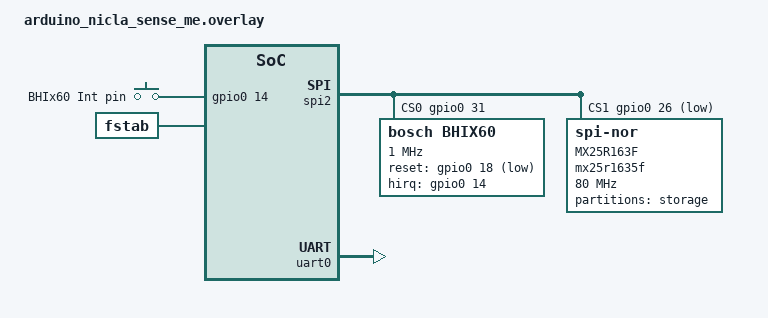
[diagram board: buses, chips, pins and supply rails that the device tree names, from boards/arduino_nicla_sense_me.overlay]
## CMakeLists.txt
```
#
# Copyright (c) 2023 Bosch Sensortec GmbH
#
# SPDX-License-Identifier: Apache-2.0
#

cmake_minimum_required(VERSION 3.20.0)

#add AB3 specific configurations
if("${BOARD}" STREQUAL "bosch_app3")
	set(CONF_FILE "prj.conf")
	list(APPEND CONF_FILE "boards/bosch_app3x_overlay.conf")
endif()

find_package(Zephyr HINTS $ENV{ZEPHYR_BASE})
project(bhix60)

#The required sample to be built has to be selected by passing
#e.g. -DBUILD_PDR in the build command line 
#Or, if using VSCode, by entering -DBUILD_PDR:STRING="1" in 
#the field "Extra CMake Argument" in the Build Configuration dialog.
if(BUILD_SWIM)
	SET(app_sources src/main_swim.c)
	message(STATUS "Building SWIM Sample")
elseif(BUILD_PDR)
	SET(app_sources src/main_pdr.c)
	message(STATUS "Building PDR Sample")
elseif(BUILD_KLIO)
	SET(app_sources src/main_klio.c)
	message(STATUS "Building KLIO Sample")
elseif(BUILD_BSEC)
	SET(app_sources src/main_bsec.c)
	message(STATUS "Building BSEC Sample")
elseif(BUILD_AUX)
	SET(app_sources src/main_aux.c)
	message(STATUS "Building AUX Sample")
elseif(BUILD_WAKE)
	SET(app_sources src/main_wake.c)
	message(STATUS "Building WAKE Sample")
elseif(BUILD_BHI3)
	SET(app_sources src/main_bhi3.c)
	message(STATUS "Building BHI3 Sample")
else()
	SET(app_sources src/main.c)
	message(STATUS "Building Default Sample")
endif()

target_sources(app PRIVATE ${app_sources})
```

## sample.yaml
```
sample:
  name: BHIX60 Sensor sample
tests:
  sample.sensor.bhix60:
    harness: sensor
    tags: samples sensor
    depends_on: arduino_spi
```

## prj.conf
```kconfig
#BHIx60 requires a large stack for FIFO processing
#it also requires a heap. Following settings are CRITICAL
#otherwise there will be build and runtime errors
CONFIG_MAIN_STACK_SIZE=8192
CONFIG_HEAP_MEM_POOL_SIZE=2048
#Enable the below option to get debug messages
#from the BHIx60 onboard MPU
CONFIG_BHIX60_STATUS_DEBUG=n

#Change below setting to choose upload of firmware to 
#RAM, Flash, or boot without upload if firmware is pre-flashed
#Only enable ONE of the below three options.
#Note that the firmware being uploaded also has to be
#appropriate for the choice (RAM or Flash versions)
CONFIG_BHIX60_UPLOAD_FW_TO_RAM=y
CONFIG_BHIX60_UPLOAD_FW_TO_FLASH=n
CONFIG_BHIX60_FLASH_AUTO_BOOT=n
#Specify how the BHIx60 FIFO will be processed
#1. The BHIx60 INT pin will be polled in an application fetch loop
#2. Set BHIx60 INT pin as hw interrupt, handle in the global thread.
#3. Same as 2, but handle in a special FIFO thread.
#Activate only ONE of the below three options
CONFIG_BHIX60_FIFO_POLL=y
CONFIG_BHIX60_FIFO_INT_GLOBAL_THREAD=n
CONFIG_BHIX60_FIFO_INT_FIFO_THREAD=n

#SPI is required by BHIx60
CONFIG_SPI=y
#enable the Sensor API for BHIx60 (and any others activated in the DTS)
CONFIG_SENSOR=y

#In order to build the samples for the advanced sensors like SWIM, PDR, etc.
#the corresponding option below needs to be activated. They can be set to n
#for other samples
CONFIG_BOSCH_BHY2_SWIM=y
CONFIG_BOSCH_BHY2_PDR=y
CONFIG_BOSCH_BHY2_KLIO=y
CONFIG_BOSCH_BHY2_BSEC=y
CONFIG_BOSCH_BHY2_BHI3=y

#Settings for console output
CONFIG_STDOUT_CONSOLE=y
CONFIG_PRINTK=y
CONFIG_LOG=y
CONFIG_LOG_BACKEND_UART=y
CONFIG_LOG_MODE_IMMEDIATE=y
CONFIG_UART_LINE_CTRL=y

#The following Power Management Module configurations are
#required for the WAKE sample. They can be set to n for
#other samples
CONFIG_PM=y
CONFIG_PM_DEVICE=y
CONFIG_PM_DEVICE_RUNTIME=y
```

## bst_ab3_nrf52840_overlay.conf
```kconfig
#AB3 Specific settings
#Select voltage of Shuttle board VDD 1.8 or 2.8. 
#BHI260 shuttle board 1.8 V only
CONFIG_BST_AB3_NRF52840_SELECT_VDD_2_8=n

#Disable console output
CONFIG_STDOUT_CONSOLE=n
CONFIG_LOG_MODE_IMMEDIATE=y
CONFIG_UART_CONSOLE=n
CONFIG_LOG_BACKEND_UART=n
#Enable RTT Console
CONFIG_RTT_CONSOLE=y
CONFIG_USE_SEGGER_RTT=y
CONFIG_LOG_BACKEND_RTT=y
```

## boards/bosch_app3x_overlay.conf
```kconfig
#APP30 and APP31 Specific settings
#Select voltage of Shuttle board VDD 1.8 or 2.8. 
#BHI260 shuttle board 1.8 V only
CONFIG_BOSCH_SHUTTLE_VDD_MV=1800

#Disable console output
CONFIG_STDOUT_CONSOLE=n
CONFIG_LOG_MODE_IMMEDIATE=y
CONFIG_UART_CONSOLE=n
CONFIG_LOG_BACKEND_UART=n
#Enable RTT Console
CONFIG_RTT_CONSOLE=y
CONFIG_USE_SEGGER_RTT=y
CONFIG_LOG_BACKEND_RTT=y
```

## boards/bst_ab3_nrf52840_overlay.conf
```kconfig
#AB3 Specific settings
#Select voltage of Shuttle board VDD 1.8 or 2.8. 
#BHI260 shuttle board 1.8 V only
CONFIG_BST_SHUTTLE_SELECT_VDD_2_8=n

#Disable console output
CONFIG_STDOUT_CONSOLE=n
CONFIG_LOG_MODE_IMMEDIATE=y
CONFIG_UART_CONSOLE=n
CONFIG_LOG_BACKEND_UART=n
#Enable RTT Console
CONFIG_RTT_CONSOLE=y
CONFIG_USE_SEGGER_RTT=y
CONFIG_LOG_BACKEND_RTT=y
```

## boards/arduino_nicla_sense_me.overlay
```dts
/*
 * Copyright (c) 2020 Bosch Sensortec GmbH.
 *
 * SPDX-License-Identifier: Apache-2.0
 */
 
/* 
 * changes required to support BHIx60 driver in NICLA Sense ME. 
 * TODO: incorporate directly in Nicla Sense ME DTS, since the BHIx60 chip is the
 * core feature of NICLA Sense ME
 */
 
/{
	/*Define "Wake-Up" GPIO pin for Power Management*/
	wup {
		compatible = "gpio-keys";
		wup0: wup_0 {
			gpios = <&gpio0 14 GPIO_ACTIVE_HIGH>;	/*Interrupt-OUT pin of BHI260*/
			label = "BHIx60 Int pin";
						status = "okay";
		};
	};
	
	/*littlefs partition on external spi flash mx25r1635f 16MB
	NOTE: the NICLA Reference manual incorrectly refers to this as MX231835 2MB
	The correct chip is in the NICLA schematics, as well as in the NICLA DTS*/
	fstab {
		compatible = "zephyr,fstab";
		lfs1: lfs1 {
			compatible = "zephyr,fstab,littlefs";
			mount-point = "/lfs1";
			partition = <&logging_partition>;
			automount;
			
			read-size = <16>;
			prog-size = <16>;
			cache-size = <64>;
			lookahead-size = <32>;
			block-cycles = <512>; 
			
		};
	};

};
	
/*override pinctrl of current Nicla DTS to provide pull up to UART-Rx
This is an error in the NICLA DTS that needs to be corrected*/
&pinctrl {
	uart0_default: uart0_default {
		group1 {
			psels = <NRF_PSEL(UART_TX, 0, 20)>;
		};

		group2 {
			psels = <NRF_PSEL(UART_RX, 0, 9)>;
			bias-pull-up;
		};

	};
};

//Override the storage_partition in the original Nicla DTS so that the
//"storage" label can be applied to the SPI flash sector below. This is
//required for proper functioning of littlefs
&flash0 {
	partitions {
		storage_partition: partition@7a000 {
		label = "storage2"; //override "storage" in originl DTS
		reg = <0x0007a000 0x00006000>;
	};
	};
};

//I2C0 Pins are connected to LED+Battery Charger in NICLA schematic
	//no correspondence with AB3 pins
	// &i2c0 {
	// 	status = "okay";
	// 	led_rgb: fl3194@53 {
	// 		compatible = "issi,is31fl3194";
	// 		reg = <0x53>;
	// 		label = "FL3194";
	// 	};
	// 	bat_level: bq25120@6a {
	// 		compatible = "ti,bq25120";
	// 		status = "okay";
	// 		reg = <0x6a>;
	// 		label = "BQ25120";
	// 		cd-gpios = <&gpio0 25 GPIO_ACTIVE_LOW>;
	// 		/*settings for LP4030 3.7 V, 450mAH battery*/
	// 		bat_reg_mv = <3700>;	//regulation voltage of battery in mv (3.6-4.65V)
	// 		ilim_ma = <200>;		//Input current limit of device in mA. (50-400 mA)
	// 		bat_uvlo_mv = <2750>;	//Battery under-voltage lockout in mV (2.2-3 V, Disable UVLO:0)
	// 		icharge_ma = <200>; 	//Charging current in mA (5-300mA, Disable Charger:0)
	// 		ipreterm_ua = <20000>;	//pre-charging current/terminating current in uA 
	// 								//(500uA to 37000uA (37mA), Disable Termination:0)
	// 								//This is charging current at start and end of charging, usually 10% of peak
	// 	};

	// };

//SPI2 module is used as shuttle_spi i.e. as main SPI connection to BHI260 and NOR Flash
//because that is how it is defined in arduino_nicla_sense_me.dts
//Note however that corresponding pins in the pinctrl dtsi are referred to as SPI0 in NICLA datasheet
//Note that the current Nicla DTS has a wrong value and name for the logging partition
//that is corrected in this overlay. This needs to be corrected in the DTS eventually.
&spi2 {
		compatible = "nordic,nrf-spi";
		status = "okay";
		pinctrl-0 = <&spi2_default>;
		pinctrl-1 = <&spi2_sleep>;
		pinctrl-names = "default", "sleep";
		//0: CS of BHI260 1:CS of Flash
		cs-gpios = <&gpio0 31 GPIO_ACTIVE_HIGH>,<&gpio0 26 GPIO_ACTIVE_LOW>;
		
 		bhix60_dev: bhix60@0 {
			compatible = "bosch,bhix60";
			reg = <0>;
			spi-max-frequency = <1000000>;//<20000000>;
			label = "bhix60";
			status = "okay";
			reset-gpios = <&gpio0 18 GPIO_ACTIVE_LOW>;	//reset pin of BHI260
			hirq-gpios = <&gpio0 14 GPIO_ACTIVE_HIGH>;	//Interrupt-OUT pin of BHI260 
		};

		/delete-node/ mx25r1635f@0;
		
		mx25r1635f: mx25r1635f@1 {
			compatible = "jedec,spi-nor";
			reg = <1>;
			spi-max-frequency = <80000000>;
			label = "MX25R163F";
			jedec-id = [c2 28 15];
			size = <DT_SIZE_M(2*8)>;	//mx25r1635f size is 16Mbits (2 MBytes). Flash Size parameter is given in Mbits 
			has-dpd;
			t-enter-dpd = <10000>;
			t-exit-dpd = <35000>;
			status = "okay";
			partitions {
				compatible = "fixed-partitions";
				#address-cells = <1>;
				#size-cells = <1>;
	
				logging_partition: partition@0 {
					label = "storage";
					reg = <0x00000000 DT_SIZE_M(2)>;//2 Mbytes (sector size is given in MBytes, not Mbits as above)
				};
			};
		};
		
	};
	
	uart_dev: &uart0 {
		status = "okay";
	};
```

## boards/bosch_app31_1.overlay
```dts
/*
 * Copyright (c) 2023 Bosch Sensortec GmbH.
 *
 * SPDX-License-Identifier: Apache-2.0
 */
 
/* 
 * Modifications required to the default Bosch Application Board 3.0 DTS
 * to support BHIx60 Driver for BHI260AP shuttle board
 */
 
/{
	/*Define "Wake-Up" GPIO pin for Power Management*/
	wup {
		compatible = "gpio-keys";
		wup0: wup_0 {
			gpios = <&gpio1 1 GPIO_ACTIVE_HIGH>;	/*Interrupt-OUT pin of BHI260*/
			label = "BHIx60 Int pin";
						status = "okay";
		};
	};
};


&spi2 {
	cs-gpios   = <&gpio0 24 GPIO_ACTIVE_HIGH>;
	/delete-node/ bmxx_spi@0;
	bhix60_dev: bhix60@0 {
		compatible = "bosch,bhix60";
		reg = <0>;
		spi-max-frequency = <1000000>;//<20000000>;
		label = "bhix60";
		status = "okay";
		reset-gpios = <&gpio1 2 GPIO_ACTIVE_LOW>;	//reset pin of BHI260
		hirq-gpios = <&gpio1 1 GPIO_ACTIVE_HIGH>;	//Interrupt-OUT pin of BHI260 
	};		
};
```

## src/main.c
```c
/*
 * Copyright (c) 2022 Bosch Sensortec GmbH
 *
 * SPDX-License-Identifier: Apache-2.0
 * This BHix60 driver sample demonstrates the use of virtual sensors that use
 * the onboard hardware sensors, i.e. the ones that do not require additional 
 * slave sensors.
 * Specifically: Accelerometer, Gyroscope,Tilt Detector, Game Rotation Vector
 * It demonstrates accessing data using the Sensor API as well as the extended API
 * (for Game Rotation Vector) as well as the setting of scales and 
 * data-ready triggers, threshold triggers and event triggers 
 */

#include <zephyr/kernel.h>
#include <zephyr/device.h>
#include <zephyr/drivers/sensor.h>
#include <stdio.h>

/*Define application specific firmware to be uploaded*/
#include <bhix60.h>
# if defined(CONFIG_BHIX60_UPLOAD_FW_TO_FLASH) || !defined(CONFIG_BHIX60_UPLOAD_FW_TO_RAM)
#    error 	"CONFIG_BHIX60_UPLOAD_FW_TO_RAM Should be set for this firmware"
# endif 
#include <firmware/bhi260ap/BHI260AP.fw.h> 
int bhix60_get_firmware(const struct device *dev, unsigned char **fw,unsigned int *fw_sz)
{
     (void)dev;
     *fw = (unsigned char *)bhy2_firmware_image;
     *fw_sz = sizeof(bhy2_firmware_image);
     return 0;
}
void tilt_trigger_handler(const struct device *dev,
					 const struct sensor_trigger *trigger);
void rotation_trigger_handler(const struct device *dev,
					 const struct sensor_trigger *trigger);
void gyro_trigger_handler(const struct device *dev,
					 const struct sensor_trigger *trigger);
void accel_trigger_handler(const struct device *dev,
					 const struct sensor_trigger *trigger);
void sensor_print(char *name, struct sensor_value *v, char *unit);

void main(void)
{
	const struct device *dev = DEVICE_DT_GET(DT_NODELABEL(bhix60_dev));
	struct sensor_value acc[3], gyr[3];
	struct sensor_value full_scale, sv_cfg; 
	struct sensor_trigger tilt_trig ={
		.chan =  SENSOR_CHAN_TILT,
		.type=SENSOR_TRIG_BHIX60_EVENT,
	};
	struct sensor_trigger rotation_trig ={
		.chan =SENSOR_CHAN_GAME_ROTATION_QTR,
		.type=	SENSOR_TRIG_DATA_READY,
	};
	struct sensor_trigger gyro_trig ={
		.chan = SENSOR_CHAN_GYRO_XYZ,
		.type =	SENSOR_TRIG_THRESHOLD,
	};
	struct sensor_trigger accel_trig ={
		.chan = SENSOR_CHAN_ACCEL_XYZ,
		.type =	SENSOR_TRIG_THRESHOLD,
	};
	/*Set threshold for gyro triggers to 4 rad/s*/
	struct sensor_value gyro_thresh = {4,0};
	/*Set threshold for accel triggers to 10 m/s^2*/
	struct sensor_value accel_thresh = {10,0};

	if (!device_is_ready(dev)) {
		printf("Device %s is not ready\n", dev->name);
		return;
	}

	printf("Device %p name is %s\n", dev, dev->name);
	/*Configure the required virtual sensors. Configuration has to be done
	prior to any other call, as this registers the virtual sensor for use*/
	sv_cfg.val1 = 100;       /* Sampling rate in hz */
	sv_cfg.val2 = 0;		 /* Latency */
	sensor_attr_set(dev, SENSOR_CHAN_ACCEL_XYZ,
			SENSOR_ATTR_CONFIGURATION,
			&sv_cfg);
	sensor_attr_set(dev, SENSOR_CHAN_GYRO_XYZ,
			SENSOR_ATTR_CONFIGURATION,
			&sv_cfg);
	sensor_attr_set(dev,  SENSOR_CHAN_TILT,
			SENSOR_ATTR_CONFIGURATION,
			&sv_cfg);
	sensor_attr_set(dev, SENSOR_CHAN_GAME_ROTATION_QTR,
			SENSOR_ATTR_CONFIGURATION,
			&sv_cfg);
	/* Setting Accl scale in m/s^2 */
	full_scale.val1 = 20;            /* 20 m/s^2 = 2G */
	full_scale.val2 = 0;

	sensor_attr_set(dev, SENSOR_CHAN_ACCEL_XYZ, SENSOR_ATTR_FULL_SCALE,
			&full_scale);

	/* Setting Gyro scale in radians/s*/
	full_scale.val1 = 7;          /* 7 rad/s = 401 degrees/s */
	full_scale.val2 = 0;

	sensor_attr_set(dev, SENSOR_CHAN_GYRO_XYZ, SENSOR_ATTR_FULL_SCALE,
			&full_scale);
	/*set callback handler for tilt detector*/
	sensor_trigger_set(dev,&tilt_trig,tilt_trigger_handler);
	/*set callback handler for game rotation vector*/
	sensor_trigger_set(dev,&rotation_trig,rotation_trigger_handler);
	/*set callback handler for gyro*/
	sensor_trigger_set(dev,&gyro_trig,gyro_trigger_handler);
	sensor_attr_set(dev, SENSOR_CHAN_GYRO_XYZ,
			SENSOR_ATTR_UPPER_THRESH,
			&gyro_thresh);
	/*set callback handler for accel*/
	sensor_trigger_set(dev,&accel_trig,accel_trigger_handler);
	sensor_attr_set(dev, SENSOR_CHAN_ACCEL_XYZ,
			SENSOR_ATTR_UPPER_THRESH,
			&accel_thresh);
	int count =0;
	while (1) {
		/* 10ms period, 100Hz Sampling frequency */
		k_sleep(K_MSEC(10));

		/*If FIFO poll mode is active, fetch needs to be called in 
		a loop to unload events from the BHI60 FIFO loop.*/
#ifdef CONFIG_BHIX60_FIFO_POLL
		sensor_sample_fetch(dev);
#endif
		/*data can be accessed after a fetch, if available. Otherwise a data received
		trigger can be set up, as done for rotation data*/
		sensor_channel_get(dev, SENSOR_CHAN_ACCEL_XYZ, acc);
		sensor_channel_get(dev, SENSOR_CHAN_GYRO_XYZ, gyr);

		/* although sampling is set at 100 hz, as in a real-world application,
		in this sample we dump values only every 1 sec to avoid flooding the console */
		if(count==0)
		{
			printf("Acc: ");
			sensor_print("X",&acc[0],"m/s2");
			sensor_print("Y",&acc[1],"m/s2");
			sensor_print("Z",&acc[2],"m/s2");
			printf("\n");				
			printf("Gyro: ");
			sensor_print("X",&gyr[0],"rad/s");
			sensor_print("Y",&gyr[1],"rad/s");
			sensor_print("Z",&gyr[2],"rad/s");
			printf("\n");
		}				
		if(++count>100)
			count =0;
	}
}

/*The test board needs to be physically manipulated to trigger this event*/
void tilt_trigger_handler(const struct device *dev,
					 const struct sensor_trigger *trigger)
{
	printf("Tilt Detected!\n");
}

/*rotation data received in FIFO*/
void rotation_trigger_handler(const struct device *dev,
					 const struct sensor_trigger *trigger)
{
	static int count2 =0;
	struct bhy2_data_quaternion data;
    uint32_t s, ns;
	uint64_t timestamp;
	struct sensor_value quat[5];
	/*Access game rotation using raw interface*/
	bhix60_get_quaternion(dev,trigger->chan,&data,&timestamp);
	bhix60_convert_time(timestamp, &s, &ns);
	/*access rotation using sensor_channel_get*/
	sensor_channel_get(dev,SENSOR_CHAN_GAME_ROTATION_QTR,quat);
	if(count2 ==0)
	{
		/*dump raw value of quaternion vector*/
		printf("Game Rotation Raw: x: %d, y: %d, z: %d, w: %d; acc: %d; AT s:%d ns:%d\n",
			data.x,	data.y,	data.z,	data.w,	data.accuracy,s,ns);
		/*dump processed value of quaternion*/	
		printf("Game Rotation SV: ");
		sensor_print("X",&quat[0],"");
		sensor_print("Y",&quat[1],"");
		sensor_print("Z",&quat[2],"");
		sensor_print("W",&quat[3],"");
		sensor_print("A",&quat[4],"rad");
		printf("\n");
	}
	if(++count2>100)
		count2 =0;
}

void gyro_trigger_handler(const struct device *dev,
					 const struct sensor_trigger *trigger)
{
	printf("Gyro threshold crossed!\n");
}

void accel_trigger_handler(const struct device *dev,
					 const struct sensor_trigger *trigger)
{
	printf("Accel threshold crossed!\n");
}

void sensor_print(char *name, struct sensor_value *v, char *unit)
{
	printf(" %s=",name);
	if(v->val1 == 0 && v->val2 <0)
		printf("-0.%06d",-v->val2);
	else if(v->val1 < 0)
		printf("%d.%06d",v->val1,-v->val2);
	else
		printf("%d.%06d",v->val1,v->val2);
	printf(" %s,",unit);
}
```

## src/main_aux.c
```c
/*
 * Copyright (c) 2022 Bosch Sensortec GmbH
 *
 * SPDX-License-Identifier: Apache-2.0
 * This BHIx60 driver sample demonstrates reading the virtual sensors that require 
 * require auxiliary BME688, BMM150, BMP390 devices to be connected to BHIx60
 * This sample also demonstrates setting threshold triggers. It sets a 
 * threshold trigger for orientation sensor (triggered if Heading, Pitch or Roll
 * exceeds +/- 150 degrees ).
 */

#include <zephyr/kernel.h>
#include <zephyr/device.h>
#include <stdio.h>
#include <bhix60.h>

/*Define application specific firmware to be uploaded 
Since this sample uses BME688, BMM150, BMP390 as slave to BHI260, a different firmware 
has to be uploaded for Nicla and for BHIx60 shuttle board as the connection of these 
slave devices is different on the two boards (SPI v/s I2C)*/
#if defined(CONFIG_BOARD_BOSCH_NICLA_SENSE) 
# if !defined(CONFIG_BHIX60_UPLOAD_FW_TO_FLASH) ||defined(CONFIG_BHIX60_UPLOAD_FW_TO_RAM)
#    error 	"CONFIG_BHIX60_UPLOAD_FW_TO_FLASH Should be set for this firmware"
# endif 
	/*Valid for Nicla or compatible
	NOTE: CONFIG_BHIX60_UPLOAD_FW_TO_FLASH=y has to be set in prj.conf in this case, as
	the Nicla firmware below is only suitable for FLASH*/
	#include <firmware/arduino_nicla_sense_me/arduino_nicla_sense_me.fw.h>
	#define bhy2_firmware_image BHI260AP_NiclaSenseME_flash_fw
#else 
# if defined(CONFIG_BHIX60_UPLOAD_FW_TO_FLASH) || !defined(CONFIG_BHIX60_UPLOAD_FW_TO_RAM)
#    error 	"CONFIG_BHIX60_UPLOAD_FW_TO_RAM Should be set for this firmware"
# endif 
	/*valid for Bosch AB3 with BHIx60 Shuttle Board, or compatible
	NOTE: CONFIG_BHIX60_UPLOAD_FW_TO_RAM=y has to be set in prj.conf in this case, as
	the below firmware is only suitable for RAM*/
	#include <firmware/bhi260ap/BHI260AP_aux_BMM150_BMP390_BME688.fw.h>
#endif

int bhix60_get_firmware(const struct device *dev, unsigned char **fw,unsigned int *fw_sz)
{
     (void)dev;
     *fw = (unsigned char *)bhy2_firmware_image;
     *fw_sz = sizeof(bhy2_firmware_image);
     return 0;
}
void sensor_print(char *name, struct sensor_value *v, char *unit);

void orient_trigger_handler(const struct device *dev,
					 const struct sensor_trigger *trigger);
void magn_trigger_handler(const struct device *dev,
					 const struct sensor_trigger *trigger);
void main(void)
{
	const struct device *dev = DEVICE_DT_GET(DT_NODELABEL(bhix60_dev));
	struct sensor_value full_scale,sv_cfg;
	struct sensor_value  sv_temp,sv_pres,sv_gas,sv_hum,sv_mag[3],sv_orient[3]; 
	/*Set thresholds for orientation triggers to +/- 150 degrees*/
	struct sensor_value orient_thresh_up = {150,0};
	struct sensor_value orient_thresh_dn = {-150,0};
	/*Set threshold for magnetometer trigger to 1.5 Gauss*/
	struct sensor_value magn_thresh = {1,500000};
	struct sensor_trigger orient_trig ={
		.chan = SENSOR_CHAN_ORIENTATION_HPR,
		.type =	SENSOR_TRIG_THRESHOLD,
	};
	struct sensor_trigger magn_trig ={
		.chan = SENSOR_CHAN_MAGN_XYZ,
		.type =	SENSOR_TRIG_THRESHOLD,
	};

	if (!device_is_ready(dev)) {
		printf("Device %s is not ready\n", dev->name);
		return;
	}

	printf("Device %p name is %s\n", dev, dev->name);

	/*Configure BSEC virtual sensor for use*/
	sv_cfg.val1 = 1;       /* Sampling rate in hz */
	sv_cfg.val2 = 0;		 /* Latency */
	sensor_attr_set(dev, SENSOR_CHAN_AMBIENT_TEMP,
			SENSOR_ATTR_CONFIGURATION,
			&sv_cfg);
	sensor_attr_set(dev, SENSOR_CHAN_HUMIDITY,
			SENSOR_ATTR_CONFIGURATION,
			&sv_cfg);
	sensor_attr_set(dev, SENSOR_CHAN_GAS_RES,
			SENSOR_ATTR_CONFIGURATION,
			&sv_cfg);
	sensor_attr_set(dev, SENSOR_CHAN_PRESS,
			SENSOR_ATTR_CONFIGURATION,
			&sv_cfg);
	sensor_attr_set(dev, SENSOR_CHAN_MAGN_XYZ,
			SENSOR_ATTR_CONFIGURATION,
			&sv_cfg);
	sensor_attr_set(dev, SENSOR_CHAN_ORIENTATION_HPR,
			SENSOR_ATTR_CONFIGURATION,
			&sv_cfg);
	/* Setting Magnetometer scale in Gauss */
	full_scale.val1 = 25;            /* 25 Gauss = 2500 uT */
	full_scale.val2 = 0;

	sensor_attr_set(dev, SENSOR_CHAN_MAGN_XYZ, SENSOR_ATTR_FULL_SCALE,
			&full_scale);

	/*set callback handler for orientation*/
	sensor_trigger_set(dev,&orient_trig,orient_trigger_handler);
	sensor_attr_set(dev, SENSOR_CHAN_ORIENTATION_HPR,
			SENSOR_ATTR_LOWER_THRESH,
			&orient_thresh_dn);
	sensor_attr_set(dev, SENSOR_CHAN_ORIENTATION_HPR,
			SENSOR_ATTR_UPPER_THRESH,
			&orient_thresh_up);
	/*set callback handler for magnetometer*/
	sensor_trigger_set(dev,&magn_trig,magn_trigger_handler);
	sensor_attr_set(dev, SENSOR_CHAN_MAGN_XYZ,
			SENSOR_ATTR_UPPER_THRESH,
			&magn_thresh);
	while (1) {
		/* 1000ms period, 1Hz Sampling frequency */
		k_sleep(K_MSEC(1000));

		/*If FIFO poll mode is active, fetch needs to be called in 
		a loop to unload events from the BHI60 FIFO loop.*/
#ifdef CONFIG_BHIX60_FIFO_POLL
		sensor_sample_fetch(dev);
#endif
		sensor_channel_get(dev,SENSOR_CHAN_AMBIENT_TEMP,&sv_temp);
		sensor_channel_get(dev,SENSOR_CHAN_GAS_RES,&sv_gas);
		sensor_channel_get(dev,SENSOR_CHAN_PRESS,&sv_pres);
		sensor_channel_get(dev,SENSOR_CHAN_HUMIDITY,&sv_hum);
		printf("T=%d.%06d C, GR=%d.%06d Ohm, P=%d.%06d kPa, H=%d.%06d pH\n",
			sv_temp.val1,sv_temp.val2,		
			sv_gas.val1,sv_gas.val2,		
			sv_pres.val1,sv_pres.val2,		
			sv_hum.val1,sv_hum.val2
		);
		sensor_channel_get(dev,SENSOR_CHAN_MAGN_XYZ,sv_mag);
		printf("Magnetometer");
		sensor_print("X",&sv_mag[0],"Gs");
		sensor_print("Y",&sv_mag[1],"Gs");
		sensor_print("Z",&sv_mag[2],"Gs");
		printf("\n");
		sensor_channel_get(dev,SENSOR_CHAN_ORIENTATION_HPR,sv_orient);
		printf("Orientation");
		sensor_print("H",&sv_orient[0],"d");
		sensor_print("P",&sv_orient[1],"d");
		sensor_print("R",&sv_orient[2],"d");
		printf("\n");
	}
}

/*orientation exceeds threshold in H, P or R*/
void orient_trigger_handler(const struct device *dev,
					 const struct sensor_trigger *trigger)
{
	printf("Orientation Exeedes 150 degrees in H P or R!\n");
}

/*Magnetometer exceeds threshold in X, Y or Z*/
/*NOTE: It may be necessary to bring a magnet close to the board to fire this!*/
void magn_trigger_handler(const struct device *dev,
					 const struct sensor_trigger *trigger)
{
	printf("Magnetometer Threshold in X, Y or Z exceeded!\n");
}

void sensor_print(char *name, struct sensor_value *v, char *unit)
{
	printf(" %s=",name);
	if(v->val1 == 0 && v->val2 <0)
		printf("-0.%06d",-v->val2);
	else if(v->val1 < 0)
		printf("%d.%06d",v->val1,-v->val2);
	else
		printf("%d.%06d",v->val1,v->val2);
	printf(" %s,",unit);
}
```

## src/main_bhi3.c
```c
/*
 * Copyright (c) 2023 Bosch Sensortec GmbH
 *
 * SPDX-License-Identifier: Apache-2.0
 * This BHix60 driver sample demonstrates the special features of BHI360 device
 * that are not covered by the BHI260 samples
 *
 *
 *               ****************************************************
 *               *        TODO: NOT YET IMPLEMENTED!!!              *
 *               ****************************************************
 */

#include <zephyr/kernel.h>
#include <zephyr/device.h>
#include <zephyr/drivers/sensor.h>
#include <stdio.h>

/*Define application specific firmware to be uploaded*/
#include <bhix60_bhi3.h>
#include <firmware/bhi360/bhi360.fw.h> 
int bhix60_get_firmware(const struct device *dev, unsigned char **fw,unsigned int *fw_sz)
{
     (void)dev;
     *fw = (unsigned char *)bhy2_firmware_image;
     *fw_sz = sizeof(bhy2_firmware_image);
     return 0;
}

void main(void)
{
	const struct device *dev = DEVICE_DT_GET(DT_NODELABEL(bhix60_dev));

	if (!device_is_ready(dev)) {
		printf("Device %s is not ready\n", dev->name);
		return;
	}

	printf("Device %p name is %s\n", dev, dev->name);
	while (1) {
		/* 10ms period, 100Hz Sampling frequency */
		k_sleep(K_MSEC(10));

		/*If FIFO poll mode is active, fetch needs to be called in 
		a loop to unload events from the BHI60 FIFO loop.*/
#ifdef CONFIG_BHIX60_FIFO_POLL
		sensor_sample_fetch(dev);
#endif
		printf("This sample is not yet implemented!!\n");
	}
}
```

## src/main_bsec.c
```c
/*
 * Copyright (c) 2022 Bosch Sensortec GmbH
 *
 * SPDX-License-Identifier: Apache-2.0
 */

#include <zephyr/kernel.h>
#include <zephyr/device.h>
#include <stdio.h>
#include <bhix60_bsec.h>

/*Define application specific firmware to be uploaded 
Since this sample uses BME688, BMM150, BMP390 as slave to BHI260, a different firmware 
has to be uploaded for Nicla and for BHIx60 shuttle board as the connection of these 
slave devices is different on the two boards (SPI v/s I2C)*/
#if defined(CONFIG_BOARD_BOSCH_NICLA_SENSE) 
# if !defined(CONFIG_BHIX60_UPLOAD_FW_TO_FLASH) ||defined(CONFIG_BHIX60_UPLOAD_FW_TO_RAM)
#    error 	"CONFIG_BHIX60_UPLOAD_FW_TO_FLASH Should be set for this firmware"
# endif 
	/*Valid for Nicla or compatible
	NOTE: CONFIG_BHIX60_UPLOAD_FW_TO_FLASH=y has to be set in prj.conf in this case, as
	the Nicla firmware below is only suitable for FLASH*/
	#include <firmware/arduino_nicla_sense_me/arduino_nicla_sense_me.fw.h>
	#define bhy2_firmware_image BHI260AP_NiclaSenseME_flash_fw
#else
# if defined(CONFIG_BHIX60_UPLOAD_FW_TO_FLASH) || !defined(CONFIG_BHIX60_UPLOAD_FW_TO_RAM)
#    error 	"CONFIG_BHIX60_UPLOAD_FW_TO_RAM Should be set for this firmware"
# endif 
	/*valid for Bosch AB3 with BHIx60 Shuttle Board, or compatible
	NOTE: CONFIG_BHIX60_UPLOAD_FW_TO_RAM=y has to be set in prj.conf in this case, as
	the below firmware is only suitable for RAM*/
	#include <firmware/bhi260ap/BHI260AP_aux_BMM150_BMP390_BME688.fw.h>
#endif

int bhix60_get_firmware(const struct device *dev, unsigned char **fw,unsigned int *fw_sz)
{
     (void)dev;
     *fw = (unsigned char *)bhy2_firmware_image;
     *fw_sz = sizeof(bhy2_firmware_image);
     return 0;
}

void bsec_trigger_handler(const struct device *dev,
					 const struct sensor_trigger *trigger);
void main(void)
{
	const struct device *dev = DEVICE_DT_GET(DT_NODELABEL(bhix60_dev));
	struct sensor_value sv_cfg; 

	struct sensor_trigger bsec_trig ={
		.chan = SENSOR_CHAN_BHIX60_AIR_Q,
		.type =	SENSOR_TRIG_DATA_READY,
	};

	if (!device_is_ready(dev)) {
		printf("Device %s is not ready\n", dev->name);
		return;
	}

	printf("Device %p name is %s\n", dev, dev->name);

	/*Configure BSEC virtual sensor for use*/
	sv_cfg.val1 = 100;       /* Sampling rate in hz */
	sv_cfg.val2 = 0;		 /* Latency */
	sensor_attr_set(dev, SENSOR_CHAN_BHIX60_AIR_Q,
			SENSOR_ATTR_CONFIGURATION,
			&sv_cfg);

	/*set callback handler for BSEC data*/
	sensor_trigger_set(dev,&bsec_trig,bsec_trigger_handler);
	while (1) {
		/* 10ms period, 100Hz Sampling frequency */
		k_sleep(K_MSEC(10));

	/*If FIFO poll mode is active, fetch needs to be called in 
		a loop to unload events from the BHI60 FIFO loop.*/
#ifdef CONFIG_BHIX60_FIFO_POLL
		sensor_sample_fetch(dev);
#endif

	}
}

/*BSEC data received in FIFO*/
void bsec_trigger_handler(const struct device *dev,
					 const struct sensor_trigger *trigger)
{
	struct bhix60_air_quality airql;
    uint32_t s, ns;
	uint64_t timestamp;
	bhix60_get_air_quality(dev,&airql,&timestamp);
	bhix60_convert_time(timestamp, &s, &ns);
	printf("BSEC at: %d.%09d iaq=%d, iaqs=%d, acc=%d, bvoc=%d.%06dppm, co2=%d.%06dppm,  temp=%d.%06dC, hum=%d.%06dpH gas=%d.%06d Ohm\n",
		s,ns,
		airql.iaq,
		airql.iaq_s,
		airql.iaq_accuracy,
		airql.b_voc_eq.val1,airql.b_voc_eq.val2,
		airql.co2_eq.val1,airql.co2_eq.val2,
		airql.comp_temp.val1,airql.comp_temp.val2,
		airql.comp_hum.val1,airql.comp_hum.val2,
		airql.comp_gas.val1,airql.comp_gas.val2
	);	
}
```

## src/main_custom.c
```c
/*
 * Copyright (c) 2022 Bosch Sensortec GmbH
 *
 * SPDX-License-Identifier: Apache-2.0
 * This BHix60 driver sample demonstrates the use of the bhix60 driver
 * with custom virtual sensors and custom firmware
 * 
 * *******************************************************************
 * FOR INFORMATION ONLY. THIS SAMPLE CANNOT BE BUILT OR RUN          *
 * *******************************************************************
 * Since this sample refers to a fictitious firmware file that does not 
 * currently exist, it cannot be built or run. It is left as an exercise
 * to the user to create a suitable firmware using the BHY2 Firmware SDK  
 */

#include <zephyr/kernel.h>
#include <zephyr/device.h>
#include <zephyr/drivers/sensor.h>
#include <stdio.h>
#include <bhix60.h>


/*Define application specific firmware to be uploaded*/

/*Custom firmware file developed by the user*/
#include "MyCustomFirmware.fw.h"

int bhix60_get_firmware(const struct device *dev, unsigned char **fw,unsigned int *fw_sz)
{
     (void)dev;
     *fw = (unsigned char *)my_custom_firmware_image;
     *fw_sz = sizeof(my_custom_firmware_image);
     return 0;
}

/*BHY2 Sensor IDs for the custom virtual sensors*/
/*Custom sensor IDs must be in the range BHY2_SENSOR_ID_CUSTOM_START
to BHY2_SENSOR_ID_CUSTOM_END*/

#define MY_CUSTOM_DATA_SID 	BHY2_SENSOR_ID_CUSTOM_START 
#define MY_CUSTOM_EVENT_SID BHY2_SENSOR_ID_CUSTOM_START +1 

/*Define the custom Channels*/
enum sensor_channel_bhix60 {
  SENSOR_CHAN_MY_CUSTOM_DATA	 = SENSOR_CHAN_PRIV_START +	MY_CUSTOM_DATA_SID,
  SENSOR_CHAN_MY_CUSTOM_EVENT	 = SENSOR_CHAN_PRIV_START +	MY_CUSTOM_EVENT_SID,
};

/*Assume that there are two custom virtual sensors:

custom sensor1 returns a 9 byte FIFO packet with two 32 bit integer elements 
called foo and bar, plus one header byte

custom sensor2 is of type Event, and returns no data
*/

/*Data type of extracted custom data*/
struct my_custom_data {
	uint32_t foo;
	uint32_t bar;
};

/*Define parser for the custom data type*/
void parse_my_custom_data(const uint8_t *data, struct my_custom_data *mcd)
{
    mcd->foo = BHY2_LE2U32(data);
    mcd->bar = BHY2_LE2U32(data + 4);
}

/*Define data accessor macro*/
static inline int get_my_custom_data(const struct device *dev,
			      enum sensor_channel chan,
			      struct my_custom_data *mcd,
				    uint64_t *timestamp){
    return bhix60_channel_parse_get(dev,chan,(bhix60_parser_t)parse_my_custom_data,mcd,timestamp);
};


/*Trigger handler for the DATA_READY trigger for Custom Channel1*/
void my_custom_data_trigger_handler(const struct device *dev,
					 const struct sensor_trigger *trigger);

/*Trigger handler for the EVENT trigger for Custom Channel2*/
void my_custom_event_trigger_handler(const struct device *dev,
					 const struct sensor_trigger *trigger);

void main(void)
{
	const struct device *dev = DEVICE_DT_GET(DT_NODELABEL(bhix60_dev));
	struct sensor_value sv_cfg; 
	struct sensor_trigger my_custom_data_trig ={
		.chan 	=	SENSOR_CHAN_MY_CUSTOM_DATA,
		.type	=	SENSOR_TRIG_DATA_READY,
	};
	struct sensor_trigger my_custom_event_trig ={
		.chan 	=	SENSOR_CHAN_MY_CUSTOM_EVENT,
		.type	=	SENSOR_TRIG_BHIX60_EVENT, 
		/*It is also possible to use any other standard Event-type 
		trigger ID E.g. if the event is associated with a motion 
		of some kind, one could use SENSOR_TRIG_MOTION*/
	};

	if (!device_is_ready(dev)) {
		printf("Device %s is not ready\n", dev->name);
		return;
	}

	printf("Device %p name is %s\n", dev, dev->name);

	/*Configure the required virtual sensors. Configuration has to be done
	prior to any other call, as this registers the virtual sensor for use*/
	sv_cfg.val1 = 100;       /* Sampling rate in hz */
	sv_cfg.val2 = 0;		 /* Latency */
	sensor_attr_set(dev, SENSOR_CHAN_MY_CUSTOM_DATA,
			SENSOR_ATTR_CONFIGURATION,
			&sv_cfg);
	sensor_attr_set(dev, SENSOR_CHAN_MY_CUSTOM_EVENT,
			SENSOR_ATTR_CONFIGURATION,
			&sv_cfg);

	/* If my_custom_data virtual sensor supports scaling, it can be
	scaled here using low-level BHY2 API calls
	sensor_attr_set() with SENSOR_ATTR_FULL_SCALE is not currently 
	supported for custom channels
	Refer BHY2 API for details*/

	/* If the custom virtual sensors require additional custom
	configuration, it can be configured here using low-level BHY2 API calls
	Refer BHY2 API for details*/

	/*set callback handler for the custom channels*/
	sensor_trigger_set(dev,&my_custom_data_trig,my_custom_data_trigger_handler);
	sensor_trigger_set(dev,&my_custom_event_trig,my_custom_event_trigger_handler);
	int count =0;
	while (1) {
		/* 10ms period, 100Hz Sampling frequency */
		k_sleep(K_MSEC(10));

		/*If FIFO poll mode is active, fetch needs to be called in 
		a loop to unload events from the BHI60 FIFO loop.*/
#ifdef CONFIG_BHIX60_FIFO_POLL
		sensor_sample_fetch(dev);
#endif
		/*data can be accessed after a fetch, if available. Otherwise 
		it can be done in a data received trigger, as done below*/
}

/*my custom data received in FIFO*/
void my_custom_data_trigger_handler(const struct device *dev,
					 const struct sensor_trigger *trigger)
{
	struct my_custom_data data;
    uint32_t s, ns;
	uint64_t timestamp;
	/*Access my_custo_data using raw interface*/
	get_my_custom_data(dev,trigger->chan,&data,&timestamp);
	bhix60_convert_time(timestamp, &s, &ns);
	/*dump custom data to console*/
	printf("My Custom Data: foo: %d, bar: %d AT s:%d ns:%d\n",
		data.foo,
		data.bar,
		s,ns);
}

/*my custom event received in FIFO*/
void my_custom_event_trigger_handler(const struct device *dev,
					 const struct sensor_trigger *trigger)
{
	printf("My Custom Event has occurred!\n");
}
```

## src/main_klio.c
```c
/*
 * Copyright (c) 2022 Bosch Sensortec GmbH
 *
 * SPDX-License-Identifier: Apache-2.0
 */

#include <zephyr/kernel.h>
#include <zephyr/device.h>
#include <stdio.h>

/*Define application specific firmware to be uploaded*/
#include <bhix60_klio.h>
# if defined(CONFIG_BHIX60_UPLOAD_FW_TO_FLASH) || !defined(CONFIG_BHIX60_UPLOAD_FW_TO_RAM)
#    error 	"CONFIG_BHIX60_UPLOAD_FW_TO_RAM Should be set for this firmware"
# endif 

#include <firmware/bhi260ap_klio/BHI260AP_KLIO.fw.h>
int bhix60_get_firmware(const struct device *dev, unsigned char **fw,unsigned int *fw_sz)
{
     (void)dev;
     *fw = (unsigned char *)bhy2_firmware_image;
     *fw_sz = sizeof(bhy2_firmware_image);
     return 0;
}

/*KLIO setup*/
int klio_init(const struct device *dev);
/*KLIO clean exit*/
void klio_cleanup(const struct device *dev);
/*force an exit*/
bool exit_condition = false;

void klio_trigger_handler(const struct device *dev,
					 const struct sensor_trigger *trigger);
void main(void)
{
	const struct device *dev = DEVICE_DT_GET(DT_NODELABEL(bhix60_dev));
	struct sensor_value sv_cfg; 

	struct sensor_trigger klio_trig ={
		.chan = SENSOR_CHAN_BHIX60_KLIO,
		.type =	SENSOR_TRIG_DATA_READY,
	};

	if (!device_is_ready(dev)) {
		printf("Device %s is not ready\n", dev->name);
		return;
	}

	printf("Device %p name is %s\n", dev, dev->name);

	/*Setup KLIO*/
	if(klio_init(dev))
	{
		printf("Unable to initialize KLIO. Exiting.\n");
		return;
	}

	/*Configure KLIO virtual sensor for use*/
	sv_cfg.val1 = 25;       /* Sampling rate in hz */
	sv_cfg.val2 = 0;		 /* Latency */
	sensor_attr_set(dev, SENSOR_CHAN_BHIX60_KLIO,
			SENSOR_ATTR_CONFIGURATION,
			&sv_cfg);
	/*set callback handler for KLIO data*/
	sensor_trigger_set(dev,&klio_trig,klio_trigger_handler);
	while (!exit_condition) {
		/* 40ms period, 25Hz Sampling frequency */
		k_sleep(K_MSEC(40));

    /*If FIFO poll mode is active, fetch needs to be called in 
		a loop to unload events from the BHI60 FIFO loop.*/
#ifdef CONFIG_BHIX60_FIFO_POLL
		sensor_sample_fetch(dev);
#endif

	}
	/*Cleanup before exit, assuming an exit condition is set 
	during processing (currently never set)*/
	klio_cleanup(dev);
}

#define PARAM_BUF_LEN     252

struct klio_runtime
{
    bhy2_klio_sensor_state_t sensor_state;
    uint16_t max_patterns;
    uint16_t max_pattern_size;
    uint8_t ignore_insignificant_movement;
    uint8_t pattern_write_back_index;
    float* similarity_result_buf;
    uint8_t* similarity_idx_buf;
}  klio_rt = {
	.sensor_state = 					/* Will be set by parameter write */
	{
		.learning_enabled = 1, 
		.learning_reset = 1, 
		.recognition_enabled = 1, 
		.recognition_reset = 1
	}, 
	.max_patterns = 0,              	/* Will be retrieved by parameter read */
	.max_pattern_size = 0, 				/* Will be retrieved by parameter read */
	.ignore_insignificant_movement = 1, /* Will be set by parameter write */
	.pattern_write_back_index = 1, 		/* Used by callback routine */
	.similarity_result_buf = NULL, 		/* Will be allocated after we know how many patterns are supported */
	.similarity_idx_buf = NULL 			/* Will be allocated after we know how many patterns are supported */
};

static float parse_klio_handle_learnt_pattern(const struct device *dev,
                                              uint32_t s,
                                              uint32_t ns);
static void print_klio_status(const struct device *dev,int apirslt,char *apiname);

/* Example pattern, BHI260 should be pointing upward, held level, and moved up and down at about 1.5Hz */
uint8_t klio_example_pattern_id = 0;
uint8_t klio_example_pattern[] = {

	0x52, 0x42, 0x31, 0x06, 0x03, 0x8b, 0xff, 0x3c, 0x40, 0x0a, 0xd7, 0x23, 0x3c, 0x73, 0xfe, 0xa7, 0xc0, 0x38,
	0x44, 0xbd, 0x40, 0xbb, 0x1f, 0xe5, 0x3e, 0x38, 0x6f, 0x30, 0x3f, 0x50, 0x89, 0x74, 0x3f, 0x4d, 0x2a, 0xf8,
	0x3c, 0x45, 0x61, 0xd9, 0x40, 0x6d, 0x21, 0x7f, 0x40, 0xd0, 0x80, 0x8f, 0x3d, 0x9e, 0x39, 0x33, 0xbd, 0x51,
	0xc5, 0x0e, 0x3f, 0x64, 0x94, 0x80, 0x3c, 0xba, 0x90, 0xd2, 0x3e, 0xf8, 0xd8, 0x37, 0xbc, 0xed, 0x50, 0xea,
	0x3d, 0xf4, 0x61, 0x16, 0x3f, 0x75, 0xc9, 0x9b, 0xbe, 0x24, 0x20, 0xf7, 0x3c, 0x91, 0x16, 0x5b, 0xbd, 0x0f,
	0x61, 0x21, 0xbc, 0x23, 0xce, 0x80, 0x3e, 0x46, 0x8c, 0x93, 0x3d, 0x0c, 0x70, 0x16, 0x3e, 0x02, 0xf9, 0x9b,
	0x3a, 0x12, 0x48, 0xbc, 0x3d, 0x2e, 0x1f, 0xba, 0x3d, 0xe9, 0x82, 0xf5, 0xbe, 0xb4, 0xbd, 0xe8, 0x3d, 0xc6,
	0x79, 0x02, 0xbd, 0x8a, 0x1a, 0x00, 0x3b, 0x87, 0x22, 0x81, 0x3e, 0x96, 0x57, 0x05, 0x3e, 0xcb, 0x03, 0xcb,
	0xbf, 0x34, 0x2d, 0x93, 0x3e, 0x26, 0x6c, 0xff, 0xbd, 0x52, 0xb0, 0x84, 0x3b
};

/*KLIO data received in FIFO*/
/*NOTE: KLIO data arrives only on-change, so no data will be dumped
unless device is physically moved*/
void klio_trigger_handler(const struct device *dev,
					 const struct sensor_trigger *trigger)
{
	bhy2_klio_sensor_frame_t data_out;
    uint32_t s, ns;
	uint64_t timestamp;
	/*Access KLIO data using KLIO extention API*/
	bhix60_get_klio_frame(dev,&data_out,&timestamp);
	bhix60_convert_time(timestamp, &s, &ns);
    printf("KLIO: T: %d.%09d; Learning [Id:%d Progress:%u Change:%u]; Recognition[Id:%d Count:%d]\n",
           s,
           ns,
           data_out.learn.index,
           data_out.learn.progress,
           data_out.learn.change_reason,
           data_out.recognize.index,
           (int)data_out.recognize.count);
    if (data_out.learn.index != -1) /* -1 means nothing was learnt. */
    {
        float highest_similarity_score = parse_klio_handle_learnt_pattern(dev,s, ns);

        if (highest_similarity_score < 0.6) /* Enable if initial pattern or dissimilar */
        {
            int rc = bhix60_klio_set_pattern_states(dev,KLIO_PATTERN_STATE_ENABLE,
                                                       &klio_rt.pattern_write_back_index,
                                                       1);
            print_klio_status(dev,rc,"bhix60_klio_set_pattern_states");
            klio_rt.pattern_write_back_index++;
        }
    }
}

int klio_init(const struct device *dev)
{
    int8_t rslt;

    /* Get number of supported patterns */
    uint8_t param_buf[PARAM_BUF_LEN];
    uint16_t length = sizeof(param_buf);

    rslt = bhix60_klio_get_parameter(dev,KLIO_PARAM_RECOGNITION_MAX_PATTERNS, param_buf, &length);
    print_klio_status(dev,rslt,"bhix60_klio_get_parameter");
    klio_rt.max_patterns = *((uint16_t*) param_buf);
    klio_rt.similarity_result_buf = k_malloc(sizeof(float) * klio_rt.max_patterns);
    klio_rt.similarity_idx_buf = k_malloc(sizeof(uint8_t) * klio_rt.max_patterns);

    if (klio_rt.similarity_result_buf == NULL || klio_rt.similarity_idx_buf == NULL)
    {
        printf("Unable to allocate Klio buffers.\n");
        return -1;
    }

    /* Get maximum supported pattern size */
    length = sizeof(param_buf);
    rslt = bhix60_klio_get_parameter(dev,KLIO_PARAM_PATTERN_BLOB_SIZE, param_buf, &length);
    print_klio_status(dev,rslt,"bhix60_klio_get_parameter");
    klio_rt.max_pattern_size = *((uint16_t*) param_buf);

    /* Set klio state (learning/recognition enable/disable and reset) */
    rslt = bhix60_klio_set_state(dev,&klio_rt.sensor_state);
    print_klio_status(dev,rslt,"bhix60_klio_set_state");

    /* Prevent learning with small movements, parameter writes should be 
	done after reset and before sensor enable */
    rslt = bhix60_klio_set_parameter(dev,KLIO_PARAM_LEARNING_IGNORE_INSIG_MOVEMENT,
                                   &klio_rt.ignore_insignificant_movement,
                                   sizeof(klio_rt.ignore_insignificant_movement));
    print_klio_status(dev,rslt,"bhix60_klio_set_parameter");

    /* Write example pattern */
    rslt = bhix60_klio_write_pattern(dev,klio_example_pattern_id, klio_example_pattern, sizeof(klio_example_pattern));
    print_klio_status(dev,rslt,"bhix60_klio_write_pattern");

    /*Enables the pattern for recognition, enabling should be done after writing the pattern*/
    rslt = bhix60_klio_set_pattern_states(dev,KLIO_PATTERN_STATE_ENABLE, &klio_example_pattern_id, 1);
    print_klio_status(dev,rslt,"bhy2_klio_set_pattern_states");

    return 0;
}

void klio_cleanup(const struct device *dev)
{
    free(klio_rt.similarity_result_buf);
    free(klio_rt.similarity_idx_buf);
}

static float parse_klio_handle_learnt_pattern(const struct device *dev,
                                              uint32_t s,
                                              uint32_t ns)
{
    uint8_t tmp_buf[PARAM_BUF_LEN];
    uint16_t bufsize = sizeof(tmp_buf);
    float highest_similarity_score = 0.f;

    /* Read out learnt pattern */
    int8_t rslt = bhix60_klio_read_pattern(dev,0, tmp_buf, &bufsize);

    print_klio_status(dev,rslt,"bhix60_klio_read_pattern");

    printf("\r\n");
    printf("KLIO T: %d.%09d; PATTERN LEARNT: ", s, ns);
    for (uint16_t i = 0; i < bufsize; i++)
    {
        printf("%02x", tmp_buf[i]);
    }

    printf("\r\n");

    /* Write back learnt pattern for recognition */
    if (klio_rt.pattern_write_back_index < klio_rt.max_patterns)
    {
        /* Write pattern for recognition, note that this resets recognition statistics (and repetition counts) */
        rslt = bhix60_klio_write_pattern(dev,klio_rt.pattern_write_back_index, tmp_buf, bufsize);
        print_klio_status(dev,rslt,"bhix60_klio_write_pattern");

        if (klio_rt.pattern_write_back_index > 0)
        {
            /* Compare current pattern against all previously stored ones */
            for (uint8_t i = 0; i < klio_rt.pattern_write_back_index; i++)
            {
                klio_rt.similarity_idx_buf[i] = i;
            }

            printf("\n");
            rslt = bhix60_klio_similarity_score_multiple(dev,
													klio_rt.pattern_write_back_index,
                                                    klio_rt.similarity_idx_buf,
                                                    klio_rt.pattern_write_back_index,
                                                    klio_rt.similarity_result_buf);
            print_klio_status(dev,rslt,"bhix60_klio_similarity_score_multiple");
            printf("KLIO T: %d.%09d; SIMILARITY SCORE TO ALREADY STORED PATTERNS: ",
                   s,
                   ns);
            for (uint8_t i = 0; i < klio_rt.pattern_write_back_index; i++)
            {
                float tmp_score = klio_rt.similarity_result_buf[i];

                printf("%d: %d ", i, (int)tmp_score);

                if (tmp_score > highest_similarity_score)
                {
                    highest_similarity_score = tmp_score;
                }
            }

            printf("\r\n");
        }
    }

    /* If we have no stored patterns return will be 0.f */

    return highest_similarity_score;
}

static void print_klio_status(const struct device *dev,int apirslt,char *apiname)
{
    uint32_t klio_status;
	if(apirslt)
		printf("Error calling:%s\n",apiname);		
    int8_t rslt = bhix60_klio_read_reset_driver_status(dev,&klio_status);
    if(rslt)
		printf("Error getting KLIO status\n");
	else
		printf("KLIO status: %d (%s)\n",klio_status,apiname);
}
```

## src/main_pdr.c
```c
/*
 * Copyright (c) 2022 Bosch Sensortec GmbH
 *
 * SPDX-License-Identifier: Apache-2.0
 */

#include <zephyr/kernel.h>
#include <zephyr/device.h>
#include <stdio.h>

/*Define application specific firmware to be uploaded*/
#include <bhix60_pdr.h>
# if defined(CONFIG_BHIX60_UPLOAD_FW_TO_FLASH) || !defined(CONFIG_BHIX60_UPLOAD_FW_TO_RAM)
#    error 	"CONFIG_BHIX60_UPLOAD_FW_TO_RAM Should be set for this firmware"
# endif 
#include <firmware/bhi260ap_pdr/BHI260AP_PDR.fw.h>
int bhix60_get_firmware(const struct device *dev, unsigned char **fw,unsigned int *fw_sz)
{
     (void)dev;
     *fw = (unsigned char *)bhy2_firmware_image;
     *fw_sz = sizeof(bhy2_firmware_image);
     return 0;
}

void pdr_trigger_handler(const struct device *dev,
					 const struct sensor_trigger *trigger);
void main(void)
{
	const struct device *dev = DEVICE_DT_GET(DT_NODELABEL(bhix60_dev));
	struct sensor_value sv_cfg; 

	struct sensor_trigger pdr_trig ={
		.chan = SENSOR_CHAN_BHIX60_PDR,
		.type =	SENSOR_TRIG_DATA_READY,
	};

	if (!device_is_ready(dev)) {
		printf("Device %s is not ready\n", dev->name);
		return;
	}

	printf("Device %p name is %s\n", dev, dev->name);
	bhix60_pdr_reset_full(dev);

	/*Configure PDR virtual sensor for use*/
	sv_cfg.val1 = 100;       /* Sampling rate in hz */
	sv_cfg.val2 = 0;		 /* Latency */
	sensor_attr_set(dev, SENSOR_CHAN_BHIX60_PDR,
			SENSOR_ATTR_CONFIGURATION,
			&sv_cfg);
	/*Configure PDR details*/
	/*Step length and acccuracy is kept artifically small for test purpose,
	so that small physical movements of the test board will trigger data*/
	bhix60_pdr_set_step_info(dev,0.05f,0.01f); 	/*step length, accuracy in m.*/
	bhix60_pdr_set_ref_heading_del(dev,0.0f);   /*heading delta in degrees*/
	bhix60_pdr_set_hand(dev,1);					/*right hand or left hand*/

	/*set callback handler for PDR data*/
	sensor_trigger_set(dev,&pdr_trig,pdr_trigger_handler);
	while (1) {
		/* 10ms period, 100Hz Sampling frequency */
		k_sleep(K_MSEC(10));

		/*If FIFO poll mode is active, fetch needs to be called in 
		a loop to unload events from the BHI60 FIFO loop.*/
#ifdef CONFIG_BHIX60_FIFO_POLL
		sensor_sample_fetch(dev);
#endif

	}
}

/*PDR data received in FIFO*/
/*NOTE: PDR data arrives only on-change, so no data will be dumped
unless device is physically moved*/
void pdr_trigger_handler(const struct device *dev,
					 const struct sensor_trigger *trigger)
{
    uint32_t s, ns;
	uint64_t timestamp;
	/*Access PDR data using PDR extention API*/
	struct bhix60_pdr_data data;
	bhix60_get_pdr_data(dev,&data,&timestamp);
	bhix60_convert_time(timestamp, &s, &ns);
	printf("PDR at %d.%09d  x=%d.%06d y=%d.%06d hac=%d.%06d hd=%d.%06d hdac=%d.%06d scnt=%d fr=%d tr=%d\n",
		s,ns,
		data.x.val1,data.x.val2,
		data.y.val1,data.y.val2,
		data.hor_acc.val1,data.hor_acc.val2,
		data.heading.val1,data.heading.val2,
		data.heading_acc.val1,data.heading_acc.val2,
		data.step_count,
		data.full_reset_status,
		data.track_reset_status);
}
```
